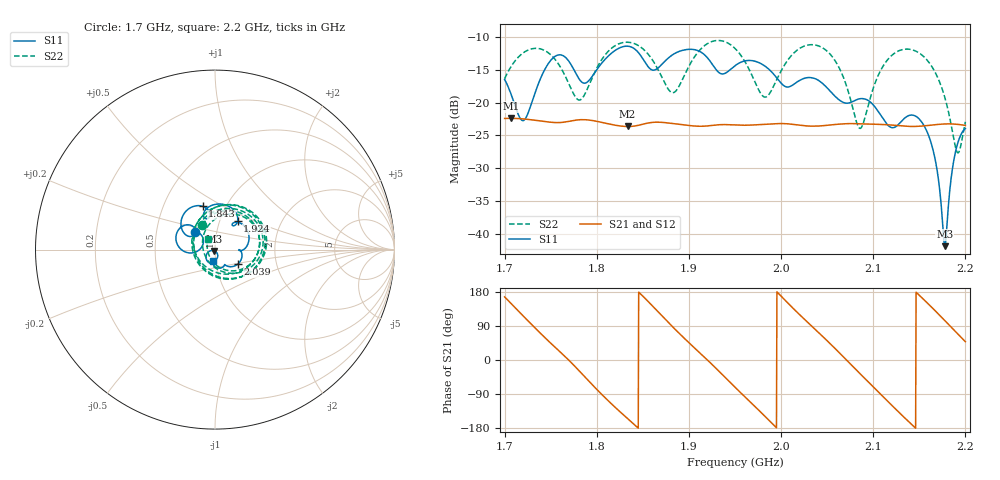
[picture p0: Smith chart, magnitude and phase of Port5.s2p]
# Hz S RI R 50
! CMT, CMT808U, 21440046, 21.4.3/4
! Date: 6/12/2026 9:27:43 AM
! Data: Format (Calibration Info)
! Freq	S11:Re/Im(F2)	S41:Re/Im(F2)	S14:Re/Im(F2)	S44:Re/Im(F2)
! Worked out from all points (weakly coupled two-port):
!   1001 points, 1.7 GHz to 2.2 GHz, reference 50 ohm
!   highest |S21| = -22.38 dB at 1.707 GHz (marker M1); lowest = -23.6 dB at 1.833 GHz (marker M2)
!   lowest |S11| = -41.9 dB at 2.178 GHz (marker M3), VSWR 1.02, Z = 49.6 - j0.705 ohm
!   |S11| at or under -10 dB: start of sweep to end of sweep
!   |S22| runs from -27.7 to -10.5 dB; largest |S21 - S12| = 0.0013
!   S11 on the Smith chart (normalised r, x): 1.7 GHz: 0.78, +0.16; 1.843 GHz: 0.78, +0.40; 1.924 GHz: 1.21, +0.40; 2.039 GHz: 1.27, -0.21; 2.2 GHz: 0.97, -0.12
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1.7e9  -0.1119 0.1007  -0.0738 0.0176  -0.0737 0.0165  -0.0712 0.135
1.707e9  -0.0793 0.085  -0.0653 0.039  -0.0655 0.0379  -0.0229 0.1875
1.721e9  -0.0705 0.0204  -0.0307 0.0685  -0.0316 0.0678  0.1167 0.2128
1.744e9  -0.1815 -0.00442  0.0376 0.0611  0.0366 0.0614  0.2481 0.0269
1.7835e9  -0.1081 0.0955  0.0606 -0.0429  0.061 -0.0417  -0.0989 -0.0402
1.811e9  -0.1866 0.1202  -0.017 -0.0672  -0.0159 -0.0673  0.0158 0.2404
1.8335e9  -0.1346 0.2346  -0.0595 -0.0281  -0.0589 -0.0289  0.2554 0.1374
1.843e9  -0.0691 0.2413  -0.0665 -0.00537  -0.0662 -0.00633  0.2779 0.0208
1.867e9  -0.0579 0.1763  -0.0414 0.0577  -0.0422 0.0568  0.0628 -0.1648
1.8925e9  -0.00358 0.2508  0.0307 0.0606  0.0296 0.0608  -0.1257 0.0785
1.924e9  0.1258 0.1593  0.0661 -0.0106  0.0661 -0.00944  0.1974 0.215
1.95e9  0.1162 0.1526  0.021 -0.0642  0.022 -0.0637  0.2487 -0.0754
1.983e9  0.1856 0.0377  -0.0591 -0.0345  -0.0584 -0.0354  -0.1016 -0.0432
2.01e9  0.1333 -0.000259  -0.0555 0.0405  -0.056 0.0394  0.0247 0.2228
2.0335e9  0.1417 -0.063  0.00138 0.0662  0.000192 0.0661  0.2504 0.1202
2.039e9  0.1268 -0.0809  0.0157 0.0644  0.0146 0.0646  0.2669 0.0627
2.0855e9  0.0411 -0.0991  0.056 -0.0402  0.0566 -0.0392  -0.059 -0.0239
2.117e9  -0.00843 -0.0657  -0.0254 -0.0628  -0.0242 -0.0631  0.0932 0.1979
2.1565e9  -0.05 -0.04  -0.0607 0.0275  -0.0612 0.0264  0.208 -0.0689
2.1775e9  -0.00371 -0.0071  -0.0172 0.0666  -0.0184 0.0663  0.0358 -0.1048
2.191e9  0.0134 -0.0453  0.0229 0.0645  0.0217 0.0648  -0.0384 -0.0167
2.2e9  -0.012 -0.0622  0.0446 0.0502  0.0436 0.0509  -0.0379 0.0606
